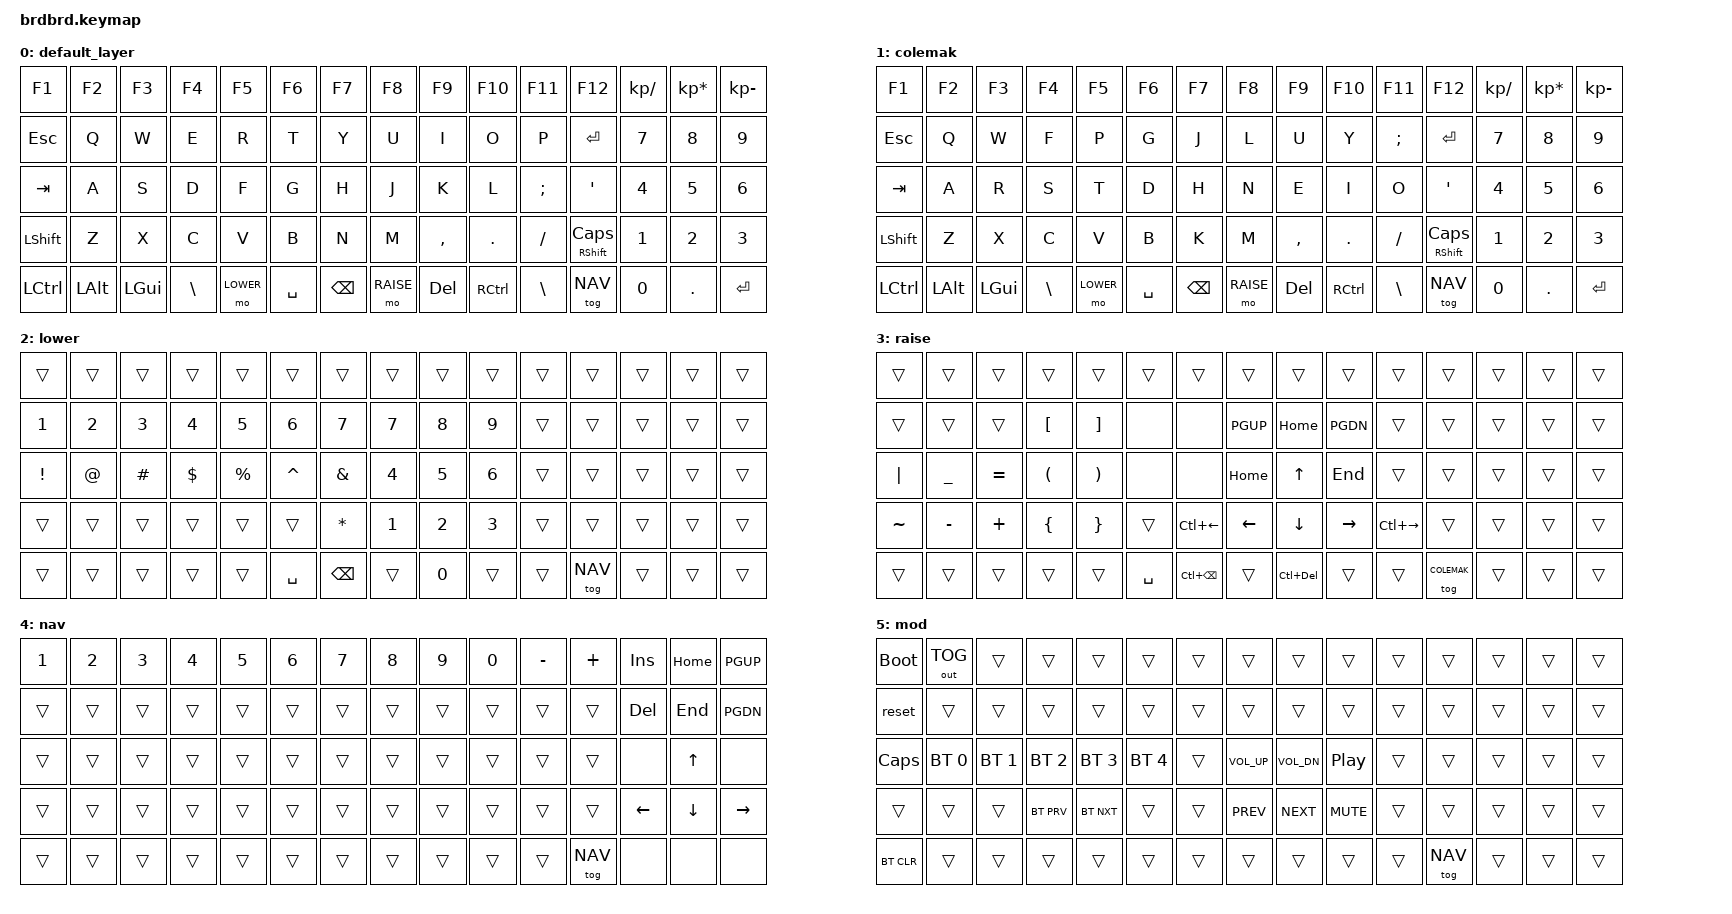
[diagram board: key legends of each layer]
/*
 * Copyright (c) 2022 The ZMK Contributors
 *
 * SPDX-License-Identifier: MIT
 */

#include <behaviors.dtsi>
#include <dt-bindings/zmk/keys.h>
#include <dt-bindings/zmk/bt.h>
#include <dt-bindings/zmk/outputs.h>

#define DEFAULT  0
#define COLEMAK  1
#define LOWER    2
#define RAISE    3
#define NAV      4
#define MOD      5

/ {
    keymap {
        compatible = "zmk,keymap";

        default_layer {
            bindings = <
    &kp F1         &kp F2    &kp F3   &kp F4    &kp F5      &kp F6     &kp F7    &kp F8     &kp F9    &kp F10   &kp F11  &kp F12           &kp KP_SLASH &kp KP_MULTIPLY &kp KP_MINUS
    &kp ESC        &kp Q     &kp W    &kp E     &kp R       &kp T      &kp Y     &kp U      &kp I     &kp O     &kp P    &kp ENTER         &kp N7       &kp N8          &kp N9
    &kp TAB        &kp A     &kp S    &kp D     &kp F       &kp G      &kp H     &kp J      &kp K     &kp L     &kp SEMI &kp SQT           &kp N4       &kp N5          &kp N6
    &kp LSHFT      &kp Z     &kp X    &kp C     &kp V       &kp B      &kp N     &kp M      &kp COMMA &kp DOT   &kp FSLH &mt RSHFT CAPS    &kp N1       &kp N2          &kp N3
    &kp LCTRL      &kp LALT  &kp LGUI &kp BSLH  &mo LOWER   &kp SPACE  &kp BSPC  &mo RAISE  &kp DEL   &kp RCTRL &kp BSLH &tog NAV          &kp N0       &kp DOT         &kp ENTER
            >;
        };
        
        colemak{
            bindings = <
    &kp F1         &kp F2    &kp F3   &kp F4    &kp F5      &kp F6     &kp F7    &kp F8     &kp F9    &kp F10   &kp F11  &kp F12           &kp KP_SLASH &kp KP_MULTIPLY &kp KP_MINUS
    &kp ESC        &kp Q     &kp W    &kp F     &kp P       &kp G      &kp J     &kp L      &kp U     &kp Y     &kp SEMI &kp ENTER         &kp N7       &kp N8          &kp N9
    &kp TAB        &kp A     &kp R    &kp S     &kp T       &kp D      &kp H     &kp N      &kp E     &kp I     &kp O    &kp SQT           &kp N4       &kp N5          &kp N6
    &kp LSHFT      &kp Z     &kp X    &kp C     &kp V       &kp B      &kp K     &kp M      &kp COMMA &kp DOT   &kp FSLH &mt RSHFT CAPS    &kp N1       &kp N2          &kp N3
    &kp LCTRL      &kp LALT  &kp LGUI &kp BSLH  &mo LOWER   &kp SPACE  &kp BSPC  &mo RAISE  &kp DEL   &kp RCTRL &kp BSLH &tog NAV          &kp N0       &kp DOT         &kp ENTER
            >;
        };

        lower {
            bindings = <
    &trans      &trans    &trans   &trans   &trans      &trans     &trans    &trans       &trans    &trans    &trans   &trans        &trans    &trans  &trans
    &kp N1      &kp N2    &kp N3   &kp N4   &kp N5      &kp N6     &kp N7    &kp N7       &kp N8    &kp N9    &trans   &trans        &trans    &trans  &trans
    &kp EXCL    &kp AT    &kp HASH &kp DLLR &kp PRCNT   &kp CARET  &kp AMPS  &kp N4       &kp N5    &kp N6    &trans   &trans        &trans    &trans  &trans
    &trans      &trans    &trans   &trans   &trans      &trans     &kp STAR  &kp N1       &kp N2    &kp N3    &trans   &trans        &trans    &trans  &trans
    &trans      &trans    &trans   &trans   &trans      &kp SPACE  &kp BSPC  &trans       &kp N0    &trans    &trans   &tog NAV      &trans    &trans  &trans
            >;
        };

        raise {
            bindings = <
    &trans    &trans    &trans    &trans   &trans      &trans     &trans         &trans      &trans      &trans     &trans        &trans         &trans    &trans  &trans
    &trans    &trans    &trans    &kp LBKT &kp RBKT    &none      &none          &kp PGUP    &kp HOME    &kp PGDN   &trans        &trans         &trans    &trans  &trans
    &kp PIPE  &kp UNDER &kp EQUAL &kp LPAR &kp RPAR    &none      &none          &kp HOME    &kp UP      &kp END    &trans        &trans         &trans    &trans  &trans
    &kp TILDE &kp MINUS &kp PLUS  &kp LBRC &kp RBRC    &trans     &kp LC(LEFT)   &kp LEFT    &kp DOWN    &kp RIGHT  &kp LC(RIGHT) &trans         &trans    &trans  &trans
    &trans    &trans    &trans    &trans   &trans      &kp SPACE  &kp LC(BSPC)   &trans      &kp LC(DEL) &trans     &trans        &tog COLEMAK   &trans    &trans  &trans
            >;
        };
        
        nav {
            bindings = <
    &kp N1     &kp N2       &kp N3       &kp N4       &kp N5       &kp N6       &kp N7    &kp N8    &kp N9     &kp N0     &kp MINUS &kp PLUS         &kp INSERT &kp HOME &kp PGUP
    &trans     &trans       &trans       &trans       &trans       &trans       &trans    &trans    &trans     &trans     &trans    &trans           &kp DELETE &kp END  &kp PGDN
    &trans     &trans       &trans       &trans       &trans       &trans       &trans    &trans    &trans     &trans     &trans    &trans           &none      &kp UP   &none
    &trans     &trans       &trans       &trans       &trans       &trans       &trans    &trans    &trans     &trans     &trans    &trans           &kp LEFT   &kp DOWN &kp RIGHT
    &trans     &trans       &trans       &trans       &trans       &trans       &trans    &trans    &trans     &trans     &trans    &tog NAV         &none      &none    &none
            >;
        };
    
        mod {
            bindings = <
    &bootloader &out OUT_TOG &trans       &trans       &trans       &trans       &trans    &trans       &trans       &trans     &trans   &trans       &trans &trans &trans
    &reset      &trans       &trans       &trans       &trans       &trans       &trans    &trans       &trans       &trans     &trans   &trans       &trans &trans &trans
    &kp CAPS    &bt BT_SEL 0 &bt BT_SEL 1 &bt BT_SEL 2 &bt BT_SEL 3 &bt BT_SEL 4 &trans    &kp C_VOL_UP &kp C_VOL_DN &kp C_PP   &trans   &trans       &trans &trans &trans
    &trans      &trans       &trans       &bt BT_PRV   &bt BT_NXT   &trans       &trans    &kp C_PREV   &kp C_NEXT   &kp C_MUTE &trans   &trans       &trans &trans &trans
    &bt BT_CLR  &trans       &trans       &trans       &trans       &trans       &trans    &trans       &trans       &trans     &trans   &tog NAV     &trans &trans &trans
            >;
        };
    };
};

/ {
    conditional_layers {
        compatible = "zmk,conditional-layers";
        tri_layer {
            if-layers = <2 3>;
            then-layer = <5>;
        };
    };
};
